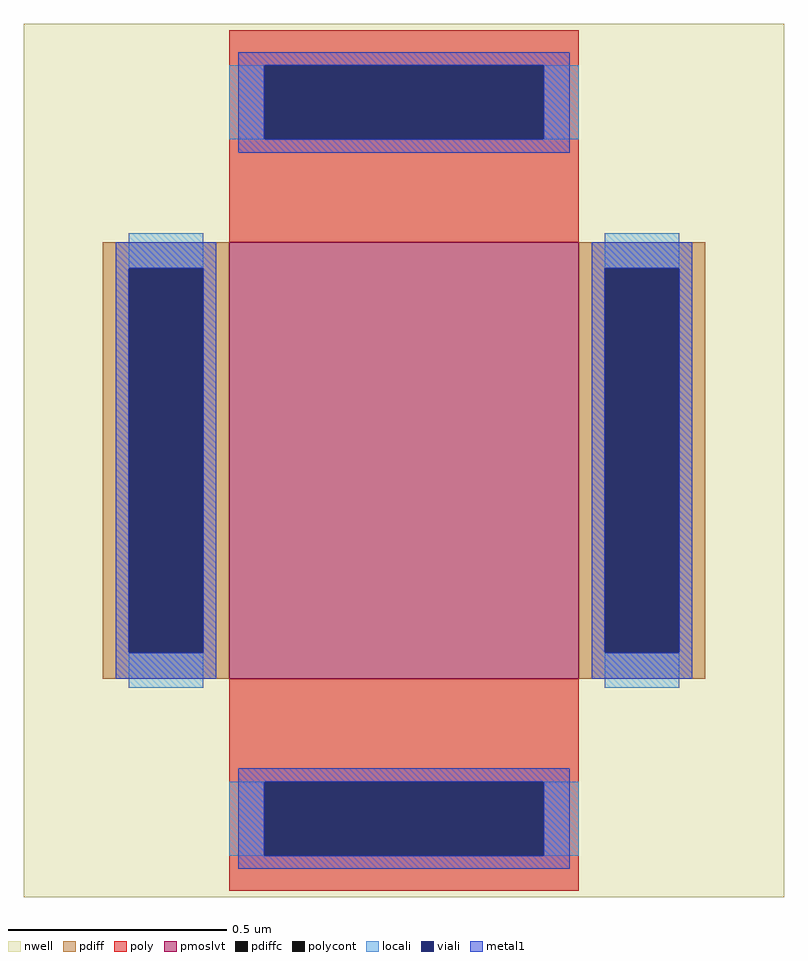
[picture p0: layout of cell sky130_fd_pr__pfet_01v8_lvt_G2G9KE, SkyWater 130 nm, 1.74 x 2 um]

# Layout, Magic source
magic
tech sky130A
magscale 1 2
<< nwell >>
rect -174 -200 174 200
<< pmoslvt >>
rect -80 -100 80 100
<< pdiff >>
rect -138 88 -80 100
rect -138 -88 -126 88
rect -92 -88 -80 88
rect -138 -100 -80 -88
rect 80 88 138 100
rect 80 -88 92 88
rect 126 -88 138 88
rect 80 -100 138 -88
<< pdiffc >>
rect -126 -88 -92 88
rect 92 -88 126 88
<< poly >>
rect -80 181 80 197
rect -80 147 -64 181
rect 64 147 80 181
rect -80 100 80 147
rect -80 -147 80 -100
rect -80 -181 -64 -147
rect 64 -181 80 -147
rect -80 -197 80 -181
<< polycont >>
rect -64 147 64 181
rect -64 -181 64 -147
<< locali >>
rect -80 147 -64 181
rect 64 147 80 181
rect -126 88 -92 104
rect -126 -104 -92 -88
rect 92 88 126 104
rect 92 -104 126 -88
rect -80 -181 -64 -147
rect 64 -181 80 -147
<< viali >>
rect -64 147 64 181
rect -126 -88 -92 88
rect 92 -88 126 88
rect -64 -181 64 -147
<< metal1 >>
rect -76 181 76 187
rect -76 147 -64 181
rect 64 147 76 181
rect -76 141 76 147
rect -132 88 -86 100
rect -132 -88 -126 88
rect -92 -88 -86 88
rect -132 -100 -86 -88
rect 86 88 132 100
rect 86 -88 92 88
rect 126 -88 132 88
rect 86 -100 132 -88
rect -76 -147 76 -141
rect -76 -181 -64 -147
rect 64 -181 76 -147
rect -76 -187 76 -181
<< properties >>
string gencell sky130_fd_pr__pfet_01v8_lvt
string library sky130
string parameters w 1 l 0.8 m 1 nf 1 diffcov 100 polycov 100 guard 0 glc 0 grc 0 gtc 0 gbc 0 tbcov 100 rlcov 100 topc 1 botc 1 poverlap 0 doverlap 1 lmin 0.35 wmin 0.42 compatible {sky130_fd_pr__pfet_01v8  sky130_fd_pr__pfet_01v8_lvt sky130_fd_pr__pfet_01v8_hvt  sky130_fd_pr__pfet_g5v0d10v5} full_metal 0 viasrc 100 viadrn 100 viagate 100 viagb 0 viagr 0 viagl 0 viagt 0
<< end >>
